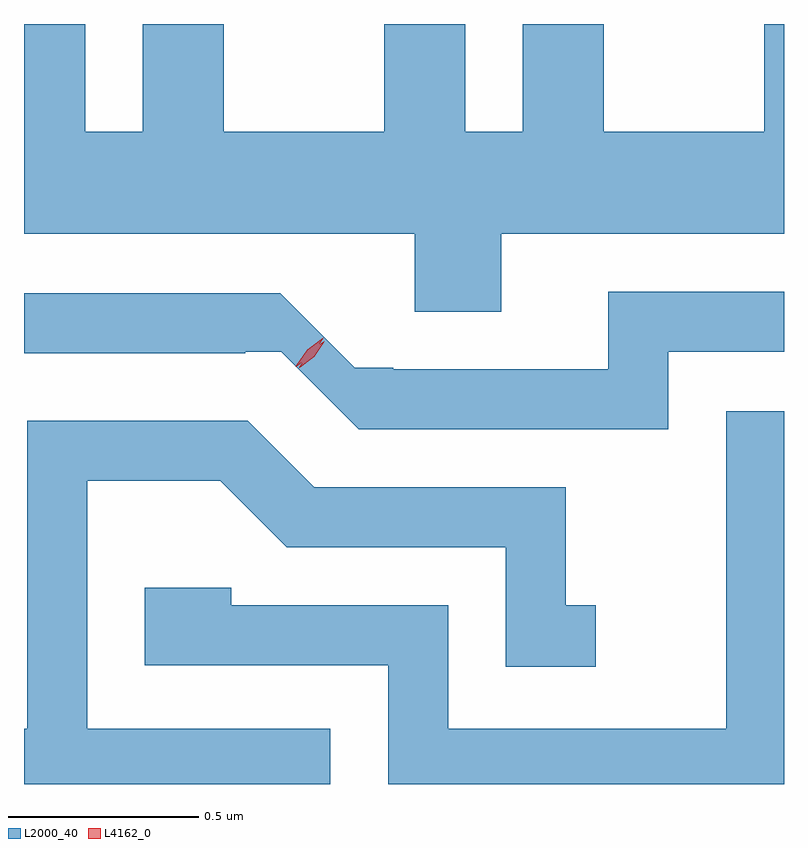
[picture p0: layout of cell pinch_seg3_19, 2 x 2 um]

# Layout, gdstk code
import gdstk
lib = gdstk.Library(unit=1e-6, precision=1e-09)
def P(c, l, *ps):  # polygons
    for p in ps: c.add(gdstk.Polygon(p, *l))
L2000_40 = (2000, 40)
L4162_0 = (4162, 0)

pinch_seg3_19 = lib.new_cell('pinch_seg3_19')
P(pinch_seg3_19, L2000_40, [(825.163,1193.168),(825.111,1193.168),(825.111,1192.884),(824.689,1192.884),(824.689,1193.168),(824.476,1193.168),(824.476,1192.884),(824.324,1192.884),(824.324,1193.168),(824.111,1193.168),(824.111,1192.884),(823.689,1192.884),(823.689,1193.168),(823.476,1193.168),(823.476,1192.884),(823.324,1192.884),(823.324,1193.168),(823.163,1193.168),(823.163,1192.616),(824.191,1192.616),(824.191,1192.411),(824.419,1192.411),(824.419,1192.616),(825.163,1192.616)],
  [(824.859,1192.306),(825.163,1192.306),(825.163,1192.464),(824.701,1192.464),(824.701,1192.259),(824.135,1192.259),(824.135,1192.263),(824.033,1192.263),(823.837,1192.459),(823.163,1192.459),(823.163,1192.301),(823.745,1192.301),(823.745,1192.305),(823.84,1192.305),(824.044,1192.101),(824.859,1192.101)],
  [(825.163,1192.149),(825.011,1192.149),(825.011,1191.314),(824.279,1191.314),(824.279,1191.639),(823.709,1191.639),(823.709,1191.684),(823.481,1191.684),(823.481,1191.481),(824.121,1191.481),(824.121,1191.168),(825.163,1191.168)],
  [(823.969,1191.314),(823.329,1191.314),(823.329,1191.966),(823.679,1191.966),(823.854,1191.791),(824.431,1191.791),(824.431,1191.476),(824.668,1191.476),(824.668,1191.639),(824.589,1191.639),(824.589,1191.949),(823.927,1191.949),(823.752,1192.124),(823.171,1192.124),(823.171,1191.314),(823.163,1191.314),(823.163,1191.168),(823.969,1191.168)])
P(pinch_seg3_19, L4162_0, [(823.878,1192.266),(823.878,1192.267),(823.908,1192.311),(823.951,1192.342),(823.951,1192.342),(823.951,1192.341),(823.922,1192.297),(823.879,1192.266)],
  [(823.887,1192.264),(823.887,1192.265),(823.913,1192.305),(823.953,1192.333),(823.953,1192.333),(823.953,1192.332),(823.927,1192.292),(823.888,1192.264)])

lib.write_gds('pinch_seg3_19.gds')
